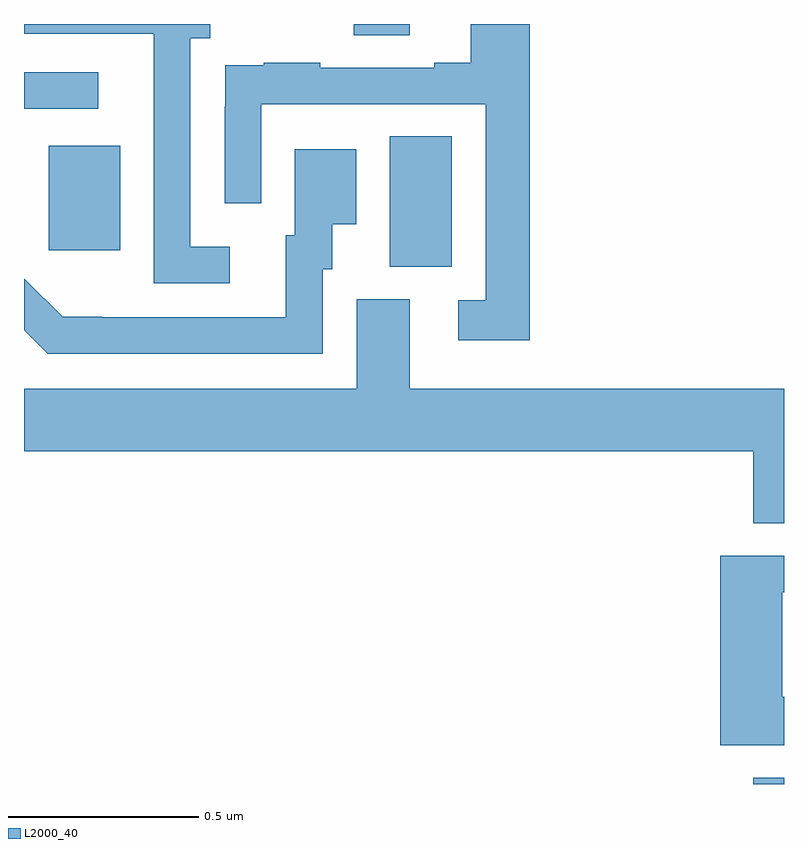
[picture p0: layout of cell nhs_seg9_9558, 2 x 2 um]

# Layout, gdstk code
import gdstk
lib = gdstk.Library(unit=1e-6, precision=1e-09)
def R(c, l, rs):  # rectangles x0, y0, x1, y1
    for r in rs: c.add(gdstk.rectangle(r[:2], r[2:], *l))
def P(c, l, *ps):  # polygons
    for p in ps: c.add(gdstk.Polygon(p, *l))
L2000_40 = (2000, 40)

nhs_seg9_9558 = lib.new_cell('nhs_seg9_9558')
R(nhs_seg9_9558, L2000_40, [(232.919,1239.5,233,1239.517), (231.962,1240.861,232.126,1241.204), (231.065,1240.905,231.253,1241.179), (231,1241.277,231.196,1241.373), (231.868,1241.47,232.015,1241.5)])
P(nhs_seg9_9558, L2000_40, [(231.541,1240.914),(231.438,1240.914),(231.438,1241.462),(231.49,1241.462),(231.49,1241.5),(231,1241.5),(231,1241.475),(231.341,1241.475),(231.341,1241.275),(231.342,1241.275),(231.342,1240.818),(231.541,1240.818)],
  [(232.331,1241.5),(232.175,1241.5),(232.175,1241.398),(232.079,1241.398),(232.079,1241.385),(231.779,1241.385),(231.779,1241.398),(231.631,1241.398),(231.631,1241.391),(231.529,1241.391),(231.529,1241.282),(231.528,1241.282),(231.528,1241.028),(231.624,1241.028),(231.624,1241.289),(232.215,1241.289),(232.215,1240.773),(232.143,1240.773),(232.143,1240.668),(232.331,1240.668)],
  [(231.786,1240.854),(231.811,1240.854),(231.811,1240.973),(231.874,1240.973),(231.874,1241.17),(231.713,1241.17),(231.713,1240.944),(231.689,1240.944),(231.689,1240.728),(231.205,1240.728),(231.205,1240.729),(231.102,1240.729),(231,1240.83),(231,1240.694),(231.062,1240.632),(231.786,1240.632)],
  [(233,1240.54),(232.015,1240.54),(232.015,1240.776),(231.875,1240.776),(231.875,1240.54),(231,1240.54),(231,1240.376),(232.919,1240.376),(232.919,1240.186),(233,1240.186)],
  [(233,1239.73),(232.996,1239.73),(232.996,1240.005),(233,1240.005),(233,1240.101),(232.832,1240.101),(232.832,1239.602),(233,1239.602)])

lib.write_gds('nhs_seg9_9558.gds')
